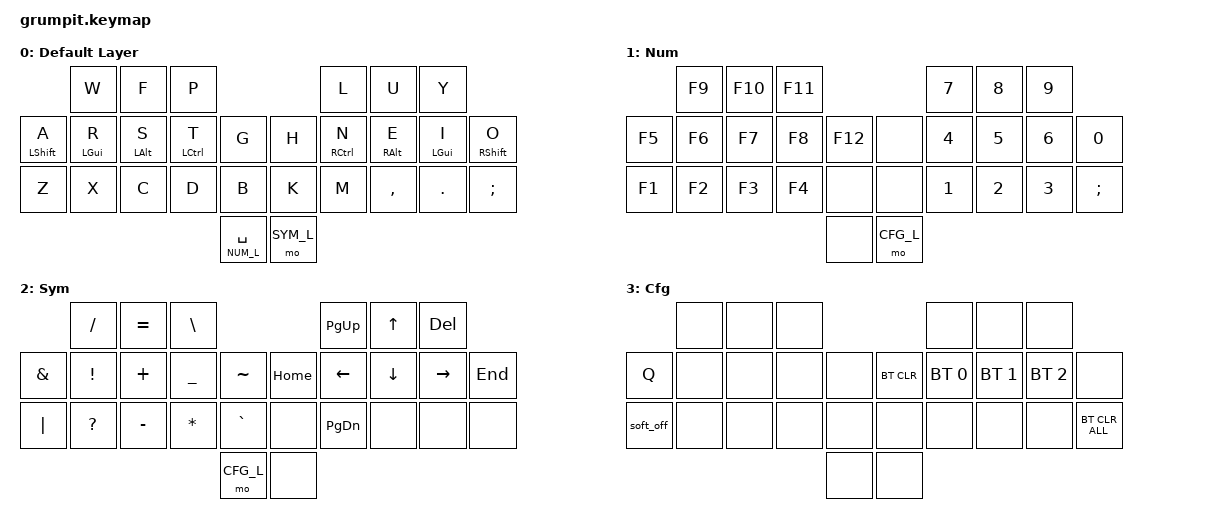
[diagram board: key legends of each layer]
#include <behaviors.dtsi>
#include <dt-bindings/zmk/keys.h>
#include <dt-bindings/zmk/bt.h>

#define DEF_L 0
#define NUM_L 1
#define SYM_L 2
#define CFG_L 3

// Using layer taps on thumbs, having quick tap as well helps w/ repeating space/backspace
&lt { quick-tap-ms = <200>; };

/ {
    combos {
        compatible = "zmk,combos";
        combo_tab {
            timeout-ms = <50>;
            key-positions = <0 1>;
            bindings = <&kp TAB>;
        };
        combo_bspc {
            timeout-ms = <50>;
            key-positions = <4 5>;
            bindings = <&kp BSPC>;
        };

        combo_esc {
            timeout-ms = <50>;
            key-positions = <17 18>;
            bindings = <&kp ESC>;
        };

        combo_ent {
            timeout-ms = <50>;
            key-positions = <23 24>;
            bindings = <&kp RET>;
        };

        combo_v {
            timeout-ms = <50>;
            key-positions = <18 19>;
            bindings = <&kp V>;
        };
        
        combo_j {
            timeout-ms = <50>;
            key-positions = <11 21>;
            bindings = <&kp J>;
        };
        
        combo_q {
            timeout-ms = <50>;
            key-positions = <1 2>;
            bindings = <&kp Q>;
        };

        combo_sqt {
            timeout-ms = <50>;
            key-positions = <22 23>;
            bindings = <&kp SQT>;
        };

        combo_osb {
            timeout-ms = <50>;
            key-positions = <0 7>;
            bindings = <&kp LBKT>;
        };

        combo_ocb {
            timeout-ms = <50>;
            key-positions = <1 8>;
            bindings = <&kp LBRC>;
        };

        combo_opar {
            timeout-ms = <50>;
            key-positions = <2 9>;
            bindings = <&kp LPAR>;
        };

        combo_cpar {
            timeout-ms = <50>;
            key-positions = <4 12>;
            bindings = <&kp RPAR>;
        };

        combo_ccb {
            timeout-ms = <50>;
            key-positions = <5 13>;
            bindings = <&kp RBRC>;
        };

        combo_csb {
            timeout-ms = <50>;
            key-positions = <6 14>;
            bindings = <&kp RBKT>;
        };

        combo_soff {
            timeout-ms = <50>;
            key-positions = <6 15 26 27>;
            bindings = <&soft_off>;
        };
    };

    behaviors {
        hm: homerow_mods {
            compatible = "zmk,behavior-hold-tap";
            #binding-cells = <2>;
            tapping-term-ms = <180>;
            flavor = "tap-preferred";
            bindings = <&kp>, <&kp>;
        };
    };

    keymap {
        compatible = "zmk,keymap";

        default_layer {
            display-name = "Default Layer";
            bindings = <
                            &kp W      &kp F       &kp P                                    &kp L       &kp U      &kp Y
                &hm LSHFT A &hm LGUI R &hm LALT S  &hm LCTRL T      &kp G           &kp H   &hm RCTRL N &hm RALT E &hm LGUI I &hm RSHFT O
                &kp Z       &kp X      &kp C       &kp D            &kp B           &kp K   &kp M       &kp COMMA  &kp DOT    &kp SEMI
                                                                    &lt NUM_L SPC   &mo SYM_L 
            >;
        };

        num_layer {
            display-name = "Num";
            bindings = <
                        &kp F9  &kp F10 &kp F11                            &kp N7 &kp N8 &kp N9
                &kp F5  &kp F6  &kp F7  &kp F8    &kp F12          &none   &kp N4 &kp N5 &kp N6 &kp N0
                &kp F1  &kp F2  &kp F3  &kp F4    &none            &none   &kp N1 &kp N2 &kp N3 &kp SEMI
                                                    &none          &mo CFG_L
            >;
        };

        sym_layer {
            display-name = "Sym";
            bindings = <
                            &kp FSLH    &kp EQUAL &kp BSLH                                  &kp PG_UP   &kp UP      &kp DEL
                &kp AMPS    &kp EXCL    &kp PLUS  &kp UNDER  &kp TILDE           &kp HOME   &kp LEFT    &kp DOWN    &kp RIGHT   &kp END
                &kp PIPE    &kp QMARK   &kp MINUS &kp ASTRK  &kp GRAVE           &none      &kp PG_DN   &none       &none       &none
                                                             &mo CFG_L           &none 
            >;
        };

        cfg_layer {
            display-name = "Cfg";
            bindings = <
                            &none   &none   &none                           &none   &none   &none
                &kp Q       &none   &none   &none   &none           &bt BT_CLR   &bt BT_SEL 0   &bt BT_SEL 1   &bt BT_SEL 2   &none
                &soft_off   &none   &none   &none   &none           &none   &none   &none   &none                        &bt BT_CLR_ALL
                                                &none           &none
            >;
        };
    };
};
